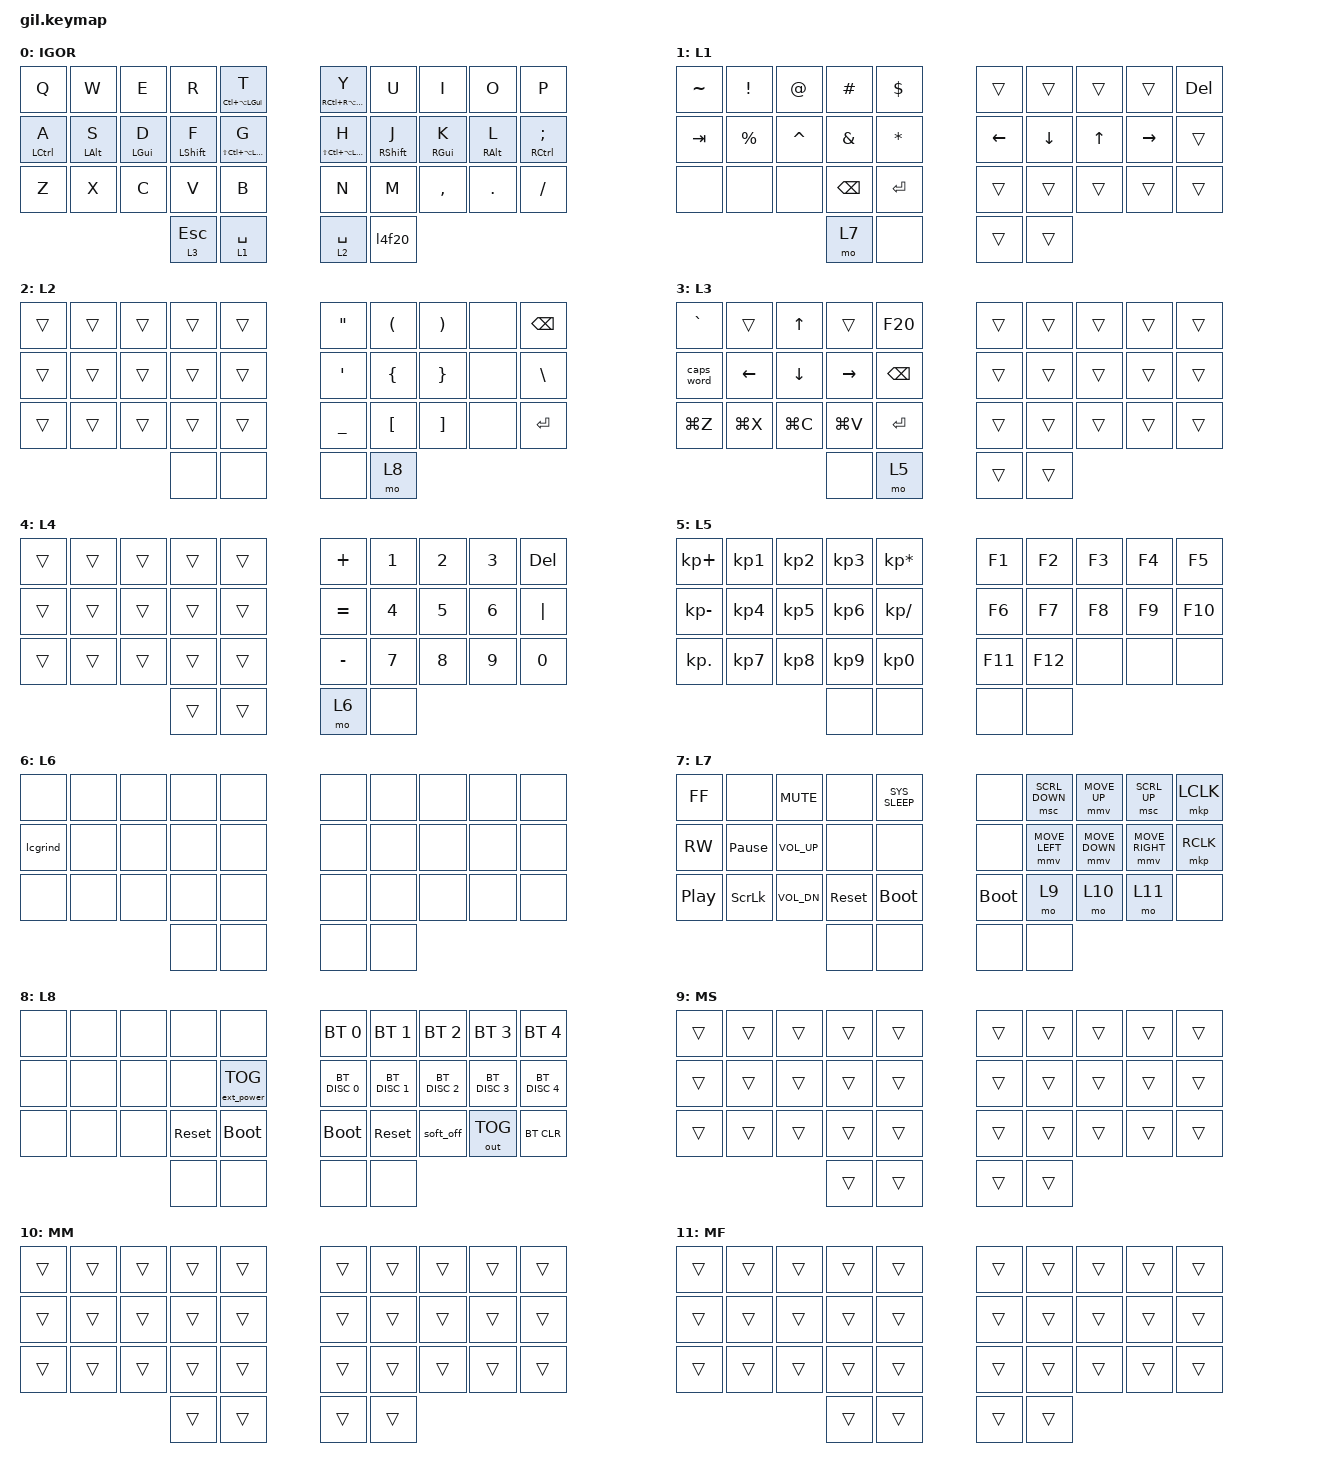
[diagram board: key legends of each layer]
#include <behaviors.dtsi>
#include <dt-bindings/zmk/keys.h>
#include <dt-bindings/zmk/bt.h>
#include <dt-bindings/zmk/outputs.h>
#include <dt-bindings/zmk/ext_power.h>
#include <dt-bindings/zmk/pointing.h>
#include <input/processors.dtsi>

// Key presses for the text macros, generated at build time by macro_text.py
#if __has_include("macro_text.h")
#include "macro_text.h"
#else
#define MACRO_LCGRIND_BINDINGS &none
#endif

// The layers and tap-hold timings are generated from layout/layout.yaml by
// layout/generate.py, which writes the Sweep's QMK keymap from the same file.

// BEGIN GENERATED timing from gil/layout/layout.yaml by layout/generate.py; edit that, not this
&lt {
    tapping-term-ms = <150>;
    quick-tap-ms = <150>;
    flavor = "tap-preferred";
};

/ {
    behaviors {
        hy: hyperkey_mods {
            compatible = "zmk,behavior-hold-tap";
            #binding-cells = <2>;
            tapping-term-ms = <400>;
            quick-tap-ms = <150>;
            flavor = "tap-preferred";
            bindings = <&kp>, <&kp>;
        };
        hm: homerow_mods {
            compatible = "zmk,behavior-hold-tap";
            #binding-cells = <2>;
            tapping-term-ms = <150>;
            quick-tap-ms = <150>;
            flavor = "tap-preferred";
            bindings = <&kp>, <&kp>;
        };
        hma: homerow_mods_alt {
            compatible = "zmk,behavior-hold-tap";
            #binding-cells = <2>;
            tapping-term-ms = <200>;
            quick-tap-ms = <150>;
            flavor = "tap-preferred";
            bindings = <&kp>, <&kp>;
        };
    };
};
// END GENERATED timing
&mt {
    tapping-term-ms = <150>;
    quick-tap-ms = <150>;
    flavor = "tap-preferred";
};
// Mouse speed keys on layer 7 hold an empty layer that scales movement,
// like QMK's KC_ACL0-2
&mmv_input_listener {
    mouse_slow {
        layers = <9>;
        input-processors = <&zip_xy_scaler 1 4>;
    };
    mouse_mid {
        layers = <10>;
        input-processors = <&zip_xy_scaler 1 2>;
    };
    mouse_fast {
        layers = <11>;
        input-processors = <&zip_xy_scaler 2 1>;
    };
};

&soft_off {
    hold-time-ms = <5000>; // Only turn off it the key is held for 5 seconds or longer.
};

/ {

    behaviors {
        // Right outer thumb: hold for layer 4, or tap then press-and-hold to hold F20
        // (push-to-talk in Wispr Flow and superwhisper). A double tap sends one F20
        // tap (superwhisper toggle), a triple tap sends two (Wispr Flow toggle).
        l4f20: layer4_or_f20 {
            compatible = "zmk,behavior-tap-dance";
            #binding-cells = <0>;
            tapping-term-ms = <200>;
            bindings = <&mo 4>, <&kp F20>, <&f20x2>;
        };
    };

    macros {
        f20x2: f20_double_tap {
            compatible = "zmk,behavior-macro";
            #binding-cells = <0>;
            tap-ms = <30>;
            wait-ms = <60>;
            bindings = <&macro_tap &kp F20 &kp F20>;
        };
        lcgrind: lcgrind {
            compatible = "zmk,behavior-macro";
            #binding-cells = <0>;
            tap-ms = <20>;
            wait-ms = <10>;
            bindings = <&macro_tap MACRO_LCGRIND_BINDINGS>;
        };
    };

    // BEGIN GENERATED layers from gil/layout/layout.yaml by layout/generate.py; edit that, not this
    keymap {
        compatible = "zmk,keymap";
        default_layer {
            label = "IGOR";
            bindings = <
&kp Q        &kp W        &kp E       &kp R        &hy LC(LA(LGUI)) T      &hy RC(RA(RGUI)) Y      &kp U        &kp I       &kp O        &kp P
&hm LCTRL A  &hma LALT S  &hm LGUI D  &hm LSHFT F  &hy LS(LC(LA(LGUI))) G  &hy LS(LC(LA(LGUI))) H  &hm RSHFT J  &hm RGUI K  &hma RALT L  &hm RCTRL SEMICOLON
&kp Z        &kp X        &kp C       &kp V        &kp B                   &kp N                   &kp M        &kp COMMA   &kp DOT      &kp SLASH
                                      &lt 3 ESC    &lt 1 SPACE             &lt 2 SPACE             &l4f20
            >;
        };
        // Symbols and arrows
        layer_1 {
            label = "L1";
            bindings = <
&kp TILDE  &kp EXCL   &kp AT     &kp HASH  &kp DLLR   &trans    &trans    &trans  &trans     &kp DEL
&kp TAB    &kp PRCNT  &kp CARET  &kp AMPS  &kp ASTRK  &kp LEFT  &kp DOWN  &kp UP  &kp RIGHT  &trans
&none      &none      &none      &kp BSPC  &kp ENTER  &trans    &trans    &trans  &trans     &trans
                                 &mo 7     &none      &trans    &trans
            >;
        };
        // Brackets
        layer_2 {
            label = "L2";
            bindings = <
&trans  &trans  &trans  &trans  &trans  &kp DQT    &kp LPAR  &kp RPAR  &none  &kp BSPC
&trans  &trans  &trans  &trans  &trans  &kp SQT    &kp LBRC  &kp RBRC  &none  &kp BSLH
&trans  &trans  &trans  &trans  &trans  &kp UNDER  &kp LBKT  &kp RBKT  &none  &kp ENTER
                        &none   &none   &none      &mo 8
            >;
        };
        // Navigation and editing
        layer_3 {
            label = "L3";
            bindings = <
&kp GRAVE   &trans     &kp UP     &trans     &kp F20    &trans  &trans  &trans  &trans  &trans
&caps_word  &kp LEFT   &kp DOWN   &kp RIGHT  &kp BSPC   &trans  &trans  &trans  &trans  &trans
&kp LG(Z)   &kp LG(X)  &kp LG(C)  &kp LG(V)  &kp ENTER  &trans  &trans  &trans  &trans  &trans
                                  &none      &mo 5      &trans  &trans
            >;
        };
        // Numbers
        layer_4 {
            label = "L4";
            bindings = <
&trans  &trans  &trans  &trans  &trans  &kp PLUS   &kp N1  &kp N2  &kp N3  &kp DEL
&trans  &trans  &trans  &trans  &trans  &kp EQUAL  &kp N4  &kp N5  &kp N6  &kp PIPE
&trans  &trans  &trans  &trans  &trans  &kp MINUS  &kp N7  &kp N8  &kp N9  &kp N0
                        &trans  &trans  &mo 6      &none
            >;
        };
        // Keypad and F-keys
        layer_5 {
            label = "L5";
            bindings = <
&kp KP_PLUS   &kp KP_N1  &kp KP_N2  &kp KP_N3  &kp KP_ASTERISK  &kp F1   &kp F2   &kp F3  &kp F4  &kp F5
&kp KP_MINUS  &kp KP_N4  &kp KP_N5  &kp KP_N6  &kp KP_SLASH     &kp F6   &kp F7   &kp F8  &kp F9  &kp F10
&kp KP_DOT    &kp KP_N7  &kp KP_N8  &kp KP_N9  &kp KP_N0        &kp F11  &kp F12  &none   &none   &none
                                    &none      &none            &none    &none
            >;
        };
        // Text macros
        layer_6 {
            label = "L6";
            bindings = <
&none     &none  &none  &none  &none  &none  &none  &none  &none  &none
&lcgrind  &none  &none  &none  &none  &none  &none  &none  &none  &none
&none     &none  &none  &none  &none  &none  &none  &none  &none  &none
                        &none  &none  &none  &none
            >;
        };
        // Media and mouse, the same on both boards. macOS reads Pause and ScrLk as display brightness up and down.
        layer_7 {
            label = "L7";
            bindings = <
&kp C_FF  &none            &kp K_MUTE    &none       &kp SYS_SLEEP  &none        &msc SCRL_DOWN  &mmv MOVE_UP    &msc SCRL_UP     &mkp LCLK
&kp C_RW  &kp PAUSE_BREAK  &kp K_VOL_UP  &none       &none          &none        &mmv MOVE_LEFT  &mmv MOVE_DOWN  &mmv MOVE_RIGHT  &mkp RCLK
&kp C_PP  &kp SLCK         &kp K_VOL_DN  &sys_reset  &bootloader    &bootloader  &mo 9           &mo 10          &mo 11           &none
                                         &none       &none          &none        &none
            >;
        };
        // System, each board's own hardware controls
        layer_8 {
            label = "L8";
            bindings = <
&none  &none  &none  &none       &none              &bt BT_SEL 0   &bt BT_SEL 1   &bt BT_SEL 2   &bt BT_SEL 3   &bt BT_SEL 4
&none  &none  &none  &none       &ext_power EP_TOG  &bt BT_DISC 0  &bt BT_DISC 1  &bt BT_DISC 2  &bt BT_DISC 3  &bt BT_DISC 4
&none  &none  &none  &sys_reset  &bootloader        &bootloader    &sys_reset     &soft_off      &out OUT_TOG   &bt BT_CLR
                     &none       &none              &none          &none
            >;
        };
        // Held by the mouse slow key, see &mmv_input_listener
        layer_9 {
            label = "MS";
            bindings = <
&trans  &trans  &trans  &trans  &trans  &trans  &trans  &trans  &trans  &trans
&trans  &trans  &trans  &trans  &trans  &trans  &trans  &trans  &trans  &trans
&trans  &trans  &trans  &trans  &trans  &trans  &trans  &trans  &trans  &trans
                        &trans  &trans  &trans  &trans
            >;
        };
        // Held by the mouse mid key, see &mmv_input_listener
        layer_10 {
            label = "MM";
            bindings = <
&trans  &trans  &trans  &trans  &trans  &trans  &trans  &trans  &trans  &trans
&trans  &trans  &trans  &trans  &trans  &trans  &trans  &trans  &trans  &trans
&trans  &trans  &trans  &trans  &trans  &trans  &trans  &trans  &trans  &trans
                        &trans  &trans  &trans  &trans
            >;
        };
        // Held by the mouse fast key, see &mmv_input_listener
        layer_11 {
            label = "MF";
            bindings = <
&trans  &trans  &trans  &trans  &trans  &trans  &trans  &trans  &trans  &trans
&trans  &trans  &trans  &trans  &trans  &trans  &trans  &trans  &trans  &trans
&trans  &trans  &trans  &trans  &trans  &trans  &trans  &trans  &trans  &trans
                        &trans  &trans  &trans  &trans
            >;
        };
    };
    // END GENERATED layers
};

